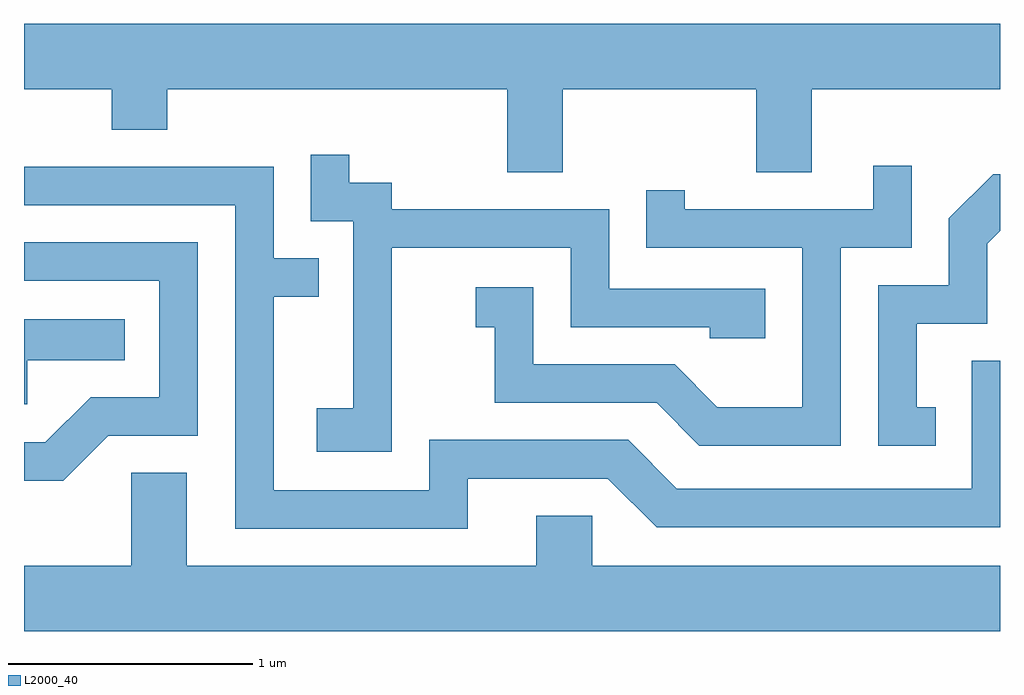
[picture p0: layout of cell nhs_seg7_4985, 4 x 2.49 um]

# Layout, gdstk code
import gdstk
lib = gdstk.Library(unit=1e-6, precision=1e-09)
def P(c, l, *ps):  # polygons
    for p in ps: c.add(gdstk.Polygon(p, *l))
L2000_40 = (2000, 40)

nhs_seg7_4985 = lib.new_cell('nhs_seg7_4985')
P(nhs_seg7_4985, L2000_40, [(339.819,1745.396),(340.611,1745.396),(340.611,1745.056),(340.839,1745.056),(340.839,1745.396),(341.611,1745.396),(341.611,1745.664),(337.611,1745.664),(337.611,1745.396),(337.971,1745.396),(337.971,1745.231),(338.199,1745.231),(338.199,1745.396),(339.591,1745.396),(339.591,1745.056),(339.819,1745.056)],
  [(339.119,1744.746),(339.851,1744.746),(339.851,1744.421),(340.421,1744.421),(340.421,1744.376),(340.649,1744.376),(340.649,1744.579),(340.009,1744.579),(340.009,1744.904),(339.119,1744.904),(339.119,1745.014),(338.944,1745.014),(338.944,1745.128),(338.786,1745.128),(338.786,1744.856),(338.961,1744.856),(338.961,1744.089),(338.811,1744.089),(338.811,1743.911),(339.119,1743.911)],
  [(340.959,1744.746),(341.249,1744.746),(341.249,1745.083),(341.091,1745.083),(341.091,1744.904),(340.319,1744.904),(340.319,1744.983),(340.161,1744.983),(340.161,1744.746),(340.801,1744.746),(340.801,1744.094),(340.452,1744.094),(340.277,1744.269),(339.699,1744.269),(339.699,1744.584),(339.463,1744.584),(339.463,1744.421),(339.541,1744.421),(339.541,1744.111),(340.204,1744.111),(340.379,1743.936),(340.959,1743.936)],
  [(339.429,1743.801),(340.004,1743.801),(340.204,1743.601),(341.611,1743.601),(341.611,1744.284),(341.496,1744.284),(341.496,1743.759),(340.287,1743.759),(340.087,1743.959),(339.271,1743.959),(339.271,1743.754),(338.634,1743.754),(338.634,1744.546),(338.818,1744.546),(338.818,1744.704),(338.634,1744.704),(338.634,1745.079),(337.611,1745.079),(337.611,1744.921),(338.476,1744.921),(338.476,1743.596),(339.429,1743.596)],
  [(341.348,1744.094),(341.269,1744.094),(341.269,1744.436),(341.559,1744.436),(341.559,1744.764),(341.611,1744.816),(341.611,1745.049),(341.584,1745.049),(341.401,1744.867),(341.401,1744.594),(341.111,1744.594),(341.111,1743.936),(341.348,1743.936)],
  [(337.957,1743.976),(338.324,1743.976),(338.324,1744.769),(337.611,1744.769),(337.611,1744.611),(338.166,1744.611),(338.166,1744.134),(337.884,1744.134),(337.699,1743.949),(337.611,1743.949),(337.611,1743.791),(337.772,1743.791)],
  [(337.624,1744.286),(338.023,1744.286),(338.023,1744.454),(337.611,1744.454),(337.611,1744.106),(337.624,1744.106)],
  [(341.611,1743.444),(339.939,1743.444),(339.939,1743.649),(339.711,1743.649),(339.711,1743.444),(338.279,1743.444),(338.279,1743.824),(338.051,1743.824),(338.051,1743.444),(337.611,1743.444),(337.611,1743.176),(341.611,1743.176)])

lib.write_gds('nhs_seg7_4985.gds')
